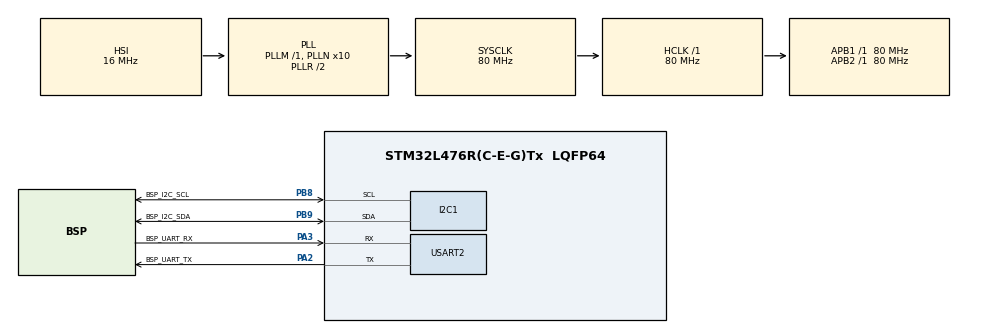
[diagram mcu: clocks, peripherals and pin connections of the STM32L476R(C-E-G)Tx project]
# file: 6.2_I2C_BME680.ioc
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I2C1.Timing=0x10909CEC
Mcu.Family=STM32L4
Mcu.Name=STM32L476R(C-E-G)Tx
Mcu.Package=LQFP64
NVIC.PriorityGroup=NVIC_PRIORITYGROUP_4
PA13\ (JTMS-SWDIO).Mode=Serial_Wire
PA13\ (JTMS-SWDIO).Signal=SYS_JTMS-SWDIO
PA14\ (JTCK-SWCLK).Mode=Serial_Wire
PA14\ (JTCK-SWCLK).Signal=SYS_JTCK-SWCLK
PA2.GPIO_Label=BSP_UART_TX
PA2.Mode=Asynchronous
PA2.Signal=USART2_TX
PA3.GPIO_Label=BSP_UART_RX
PA3.Mode=Asynchronous
PA3.Signal=USART2_RX
PB8.GPIO_Label=BSP_I2C_SCL
PB8.Mode=I2C
PB8.Signal=I2C1_SCL
PB9.GPIO_Label=BSP_I2C_SDA
PB9.Mode=I2C
PB9.Signal=I2C1_SDA
ProjectManager.HeapSize=0x200
ProjectManager.StackSize=0x400
ProjectManager.TargetToolchain=STM32CubeIDE
RCC.ADCFreq_Value=64000000
RCC.AHBFreq_Value=80000000
RCC.APB1Freq_Value=80000000
RCC.APB1TimFreq_Value=80000000
RCC.APB2Freq_Value=80000000
RCC.APB2TimFreq_Value=80000000
RCC.CortexFreq_Value=80000000
RCC.HCLKFreq_Value=80000000
RCC.HSE_VALUE=8000000
RCC.HSI_VALUE=16000000
RCC.MSI_VALUE=4000000
RCC.PLLN=10
RCC.PLLSourceVirtual=RCC_PLLSOURCE_HSI
RCC.PREFETCH_ENABLE=1
RCC.SYSCLKFreq_VALUE=80000000
RCC.SYSCLKSource=RCC_SYSCLKSOURCE_PLLCLK
RCC.USBFreq_Value=64000000
RCC.VCOOutputFreq_Value=160000000
USART2.VirtualMode-Asynchronous=VM_ASYNC
board=NUCLEO-L476RG

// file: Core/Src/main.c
/* USER CODE BEGIN Header */
/**
  ******************************************************************************
  * @file           : main.c
  * @brief          : Main program body
  ******************************************************************************
  * @attention
  *
  * Copyright (c) 2024 STMicroelectronics.
  * All rights reserved.
  *
  * This software is licensed under terms that can be found in the LICENSE file
  * in the root directory of this software component.
  * If no LICENSE file comes with this software, it is provided AS-IS.
  *
  ******************************************************************************
  */
/* USER CODE END Header */
#include "main.h"

/* USER CODE BEGIN Includes */
#include "bme680.h"
#include "stdio.h"
#include "string.h"
/* USER CODE END Includes */

/* USER CODE BEGIN PM */
#define BME680_ADDRESS 0xEC
#define CHIP_ADD 0x61
/* USER CODE END PM */

I2C_HandleTypeDef hi2c1;

UART_HandleTypeDef huart2;

/* USER CODE BEGIN PV */

//For Scanner
char Buffer[100] = {0};
uint8_t Space[] = " - ";
uint8_t StartMSG[] = "Starting I2C Scanning: \r\n";
uint8_t EndMSG[] = "Done! \r\n\r\n";

/* USER CODE END PV */

void SystemClock_Config(void);
static void MX_GPIO_Init(void);
static void MX_USART2_UART_Init(void);
static void MX_I2C1_Init(void);

/* USER CODE BEGIN PFP */
void I2C_Scan(void);

uint8_t Who_am_i(void);

int8_t user_i2c_read(uint8_t dev_id, uint8_t reg_addr, uint8_t *reg_data, uint16_t len);
int8_t user_i2c_write(uint8_t dev_id, uint8_t reg_addr, uint8_t *reg_data, uint16_t len);
void user_delay_ms(uint32_t period);

/* USER CODE END PFP */

int main(void)
{

  /* USER CODE BEGIN 1 */

    struct bme680_dev gas_sensor;

    gas_sensor.dev_id = BME680_I2C_ADDR_PRIMARY;
    gas_sensor.intf = BME680_I2C_INTF;
    gas_sensor.read = user_i2c_read;
    gas_sensor.write = user_i2c_write;
    gas_sensor.delay_ms = user_delay_ms;
    /* amb_temp can be set to 25 prior to configuring the gas sensor
     * or by performing a few temperature readings without operating the gas sensor.
     */
    gas_sensor.amb_temp = 25;

    uint8_t rslt = BME680_OK;
    rslt = bme680_init(&gas_sensor);

//    if( rslt != get_calib_data(dev) )
//    {
//    	printf("Error \r\n");
//    	Error_Handler();
//    }

    uint8_t set_required_settings;

    /* Set the temperature, pressure and humidity settings */
    gas_sensor.tph_sett.os_hum = BME680_OS_2X;
    gas_sensor.tph_sett.os_pres = BME680_OS_4X;
    gas_sensor.tph_sett.os_temp = BME680_OS_8X;
    gas_sensor.tph_sett.filter = BME680_FILTER_SIZE_3;

    /* Set the remaining gas sensor settings and link the heating profile */
    gas_sensor.gas_sett.run_gas = BME680_ENABLE_GAS_MEAS;
    /* Create a ramp heat waveform in 3 steps */
    gas_sensor.gas_sett.heatr_temp = 320; /* degree Celsius */
    gas_sensor.gas_sett.heatr_dur = 150; /* milliseconds */

    /* Select the power mode */
    /* Must be set before writing the sensor configuration */
    gas_sensor.power_mode = BME680_FORCED_MODE;

    /* Set the required sensor settings needed */
    set_required_settings = BME680_OST_SEL | BME680_OSP_SEL | BME680_OSH_SEL | BME680_FILTER_SEL
        | BME680_GAS_SENSOR_SEL;

    /* Set the desired sensor configuration */
    rslt = bme680_set_sensor_settings(set_required_settings,&gas_sensor);

    /* Set the power mode */
    rslt = bme680_set_sensor_mode(&gas_sensor);

  /* USER CODE END 1 */

  /* MCU Configuration--------------------------------------------------------*/

  /* Reset of all peripherals, Initializes the Flash interface and the Systick. */
  HAL_Init();

  /* Configure the system clock */
  SystemClock_Config();

  /* Initialize all configured peripherals */
  MX_GPIO_Init();
  MX_USART2_UART_Init();
  MX_I2C1_Init();
  /* USER CODE BEGIN 2 */

  I2C_Scan();

  printf("Hello_Dishant!!!\r\n");

  uint16_t meas_period;
  bme680_get_profile_dur(&meas_period, &gas_sensor);
  struct bme680_field_data data;

  /* USER CODE END 2 */

  /* Infinite loop */
  while (1)
  {

    /* USER CODE BEGIN 3 */

	  Who_am_i();

	  user_delay_ms(meas_period); /* Delay till the measurement is ready */

	         rslt = bme680_get_sensor_data(&data, &gas_sensor);

	         printf("T: %.2f degC, P: %.2f hPa, H %.2f %%rH ", data.temperature / 100.0f,
	             data.pressure / 100.0f, data.humidity/1000.0f );
	         /* Avoid using measurements from an unstable heating setup */
	         if(data.status & BME680_GASM_VALID_MSK)
	             printf(", G: %ld ohms",(uint32_t) data.gas_resistance);

	         printf("\r\n");

	         /* Trigger the next measurement if you would like to read data out continuously */
	         if (gas_sensor.power_mode == BME680_FORCED_MODE) {
	             rslt = bme680_set_sensor_mode(&gas_sensor);
	         }
	 HAL_Delay(1000);
  }
  /* USER CODE END 3 */
}

void SystemClock_Config(void)
{
  RCC_OscInitTypeDef RCC_OscInitStruct = {0};
  RCC_ClkInitTypeDef RCC_ClkInitStruct = {0};

  /** Configure the main internal regulator output voltage
  */
  if (HAL_PWREx_ControlVoltageScaling(PWR_REGULATOR_VOLTAGE_SCALE1) != HAL_OK)
  {
    Error_Handler();
  }

  /** Initializes the RCC Oscillators according to the specified parameters
  * in the RCC_OscInitTypeDef structure.
  */
  RCC_OscInitStruct.OscillatorType = RCC_OSCILLATORTYPE_HSI;
  RCC_OscInitStruct.HSIState = RCC_HSI_ON;
  RCC_OscInitStruct.HSICalibrationValue = RCC_HSICALIBRATION_DEFAULT;
  RCC_OscInitStruct.PLL.PLLState = RCC_PLL_ON;
  RCC_OscInitStruct.PLL.PLLSource = RCC_PLLSOURCE_HSI;
  RCC_OscInitStruct.PLL.PLLM = 1;
  RCC_OscInitStruct.PLL.PLLN = 10;
  RCC_OscInitStruct.PLL.PLLP = RCC_PLLP_DIV7;
  RCC_OscInitStruct.PLL.PLLQ = RCC_PLLQ_DIV2;
  RCC_OscInitStruct.PLL.PLLR = RCC_PLLR_DIV2;
  if (HAL_RCC_OscConfig(&RCC_OscInitStruct) != HAL_OK)
  {
    Error_Handler();
  }

  /** Initializes the CPU, AHB and APB buses clocks
  */
  RCC_ClkInitStruct.ClockType = RCC_CLOCKTYPE_HCLK|RCC_CLOCKTYPE_SYSCLK
                              |RCC_CLOCKTYPE_PCLK1|RCC_CLOCKTYPE_PCLK2;
  RCC_ClkInitStruct.SYSCLKSource = RCC_SYSCLKSOURCE_PLLCLK;
  RCC_ClkInitStruct.AHBCLKDivider = RCC_SYSCLK_DIV1;
  RCC_ClkInitStruct.APB1CLKDivider = RCC_HCLK_DIV1;
  RCC_ClkInitStruct.APB2CLKDivider = RCC_HCLK_DIV1;

  if (HAL_RCC_ClockConfig(&RCC_ClkInitStruct, FLASH_LATENCY_4) != HAL_OK)
  {
    Error_Handler();
  }
}

static void MX_I2C1_Init(void)
{

  hi2c1.Instance = I2C1;
  hi2c1.Init.Timing = 0x10909CEC;
  hi2c1.Init.OwnAddress1 = 0;
  hi2c1.Init.AddressingMode = I2C_ADDRESSINGMODE_7BIT;
  hi2c1.Init.DualAddressMode = I2C_DUALADDRESS_DISABLE;
  hi2c1.Init.OwnAddress2 = 0;
  hi2c1.Init.OwnAddress2Masks = I2C_OA2_NOMASK;
  hi2c1.Init.GeneralCallMode = I2C_GENERALCALL_DISABLE;
  hi2c1.Init.NoStretchMode = I2C_NOSTRETCH_DISABLE;
  if (HAL_I2C_Init(&hi2c1) != HAL_OK)
  {
    Error_Handler();
  }

  /** Configure Analogue filter
  */
  if (HAL_I2CEx_ConfigAnalogFilter(&hi2c1, I2C_ANALOGFILTER_ENABLE) != HAL_OK)
  {
    Error_Handler();
  }

  /** Configure Digital filter
  */
  if (HAL_I2CEx_ConfigDigitalFilter(&hi2c1, 0) != HAL_OK)
  {
    Error_Handler();
  }

}

static void MX_USART2_UART_Init(void)
{

  huart2.Instance = USART2;
  huart2.Init.BaudRate = 115200;
  huart2.Init.WordLength = UART_WORDLENGTH_8B;
  huart2.Init.StopBits = UART_STOPBITS_1;
  huart2.Init.Parity = UART_PARITY_NONE;
  huart2.Init.Mode = UART_MODE_TX_RX;
  huart2.Init.HwFlowCtl = UART_HWCONTROL_NONE;
  huart2.Init.OverSampling = UART_OVERSAMPLING_16;
  huart2.Init.OneBitSampling = UART_ONE_BIT_SAMPLE_DISABLE;
  huart2.AdvancedInit.AdvFeatureInit = UART_ADVFEATURE_NO_INIT;
  if (HAL_UART_Init(&huart2) != HAL_OK)
  {
    Error_Handler();
  }

}

static void MX_GPIO_Init(void)
{

  /* GPIO Ports Clock Enable */
  __HAL_RCC_GPIOA_CLK_ENABLE();
  __HAL_RCC_GPIOB_CLK_ENABLE();

}

/* USER CODE BEGIN 4 */

void I2C_Scan(void)
{
    uint8_t ret;
    HAL_UART_Transmit(&huart2, StartMSG, sizeof(StartMSG), 10000);

    for (int i = 0; i < 128; i++) {
        ret = HAL_I2C_IsDeviceReady(&hi2c1, (uint16_t)(i << 1), 3, 5);
        if (ret != HAL_OK) { /* No ACK Received At That Address */
            HAL_UART_Transmit(&huart2, Space, sizeof(Space), 10000);
        } else {
        	sprintf((char*)Buffer, "0x%X", i);

            HAL_UART_Transmit(&huart2, (uint8_t *)Buffer, strlen((char*)Buffer), 10000);
        }
    }

    HAL_UART_Transmit(&huart2, EndMSG, sizeof(EndMSG), 10000);
}

void user_delay_ms(uint32_t period)
{
    /*
     * Return control or wait,
     * for a period amount of milliseconds
     */
	//HAL_Delay(500);
}

uint8_t Who_am_i(void) {
    uint8_t chip_id;
    HAL_StatusTypeDef status;

    // Send command to read the chip ID register
    uint8_t chip_id_reg = 0xD0; // Assuming the chip ID register address is 0xD0
    status = HAL_I2C_Master_Transmit(&hi2c1, BME680_ADDRESS, &chip_id_reg, 1, 1000);

    if (status != HAL_OK) {
        // Handle transmission error
        printf("Error transmitting chip ID register address.\n");
        return 0xFF; // Return an error value
    }

    // Receive chip ID
    status = HAL_I2C_Master_Receive(&hi2c1, BME680_ADDRESS , &chip_id, 1, 1000);

    if (status != HAL_OK) {
        // Handle receiving error
        printf("Error receiving chip ID.\n");
        return 0xFF; // Return an error value
    }

    // Print chip ID
    printf("Chip ID: 0x%02X\n", chip_id);

    return chip_id;
}
/* USER CODE END 4 */

void Error_Handler(void)
{
  __disable_irq();
  while (1)
  {
  }
}
